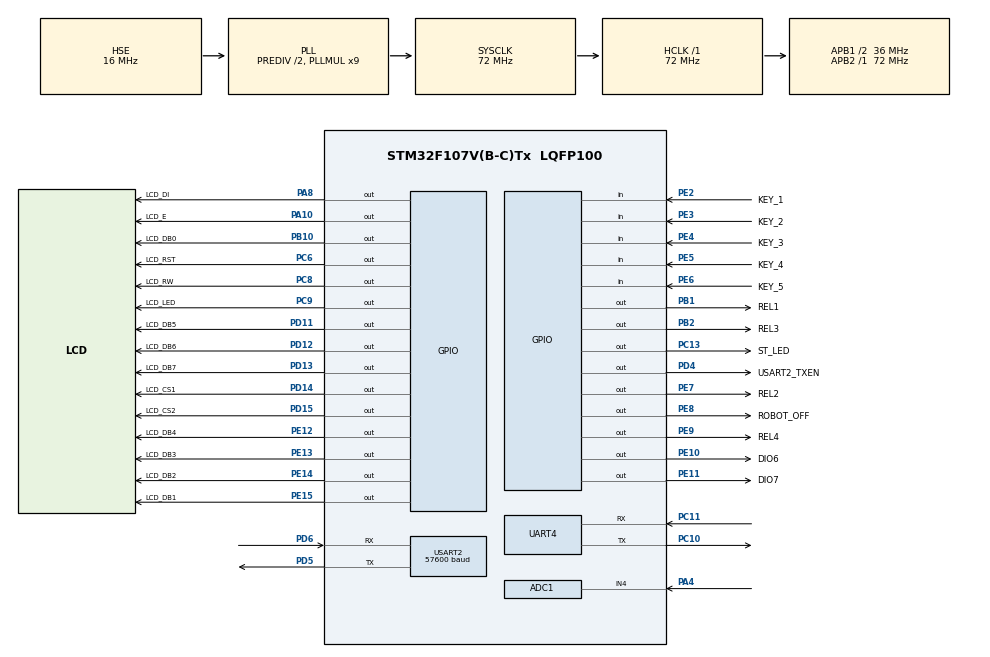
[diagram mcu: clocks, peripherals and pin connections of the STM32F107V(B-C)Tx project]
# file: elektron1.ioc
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ADC1.Channel-16\#ChannelRegularConversion=ADC_CHANNEL_4
ADC1.ContinuousConvMode=DISABLE
ADC1.DataAlign=ADC_DATAALIGN_RIGHT
ADC1.DiscontinuousConvMode=DISABLE
ADC1.EnableAnalogWatchDog=false
ADC1.EnableRegularConversion=ENABLE
ADC1.ExternalTrigConv=ADC_EXTERNALTRIGCONV_T3_TRGO
ADC1.InjNumberOfConversion=0
ADC1.NbrOfConversion=1
ADC1.NbrOfConversionFlag=1
ADC1.Rank-16\#ChannelRegularConversion=1
ADC1.SamplingTime-16\#ChannelRegularConversion=ADC_SAMPLETIME_1CYCLE_5
ADC1.ScanConvMode=ADC_SCAN_DISABLE
ADC1.master=1
Dma.Request0=UART4_RX
Dma.Request1=UART4_TX
Dma.UART4_RX.0.Direction=DMA_PERIPH_TO_MEMORY
Dma.UART4_RX.0.Instance=DMA2_Channel3
Dma.UART4_RX.0.MemDataAlignment=DMA_MDATAALIGN_BYTE
Dma.UART4_RX.0.MemInc=DMA_MINC_ENABLE
Dma.UART4_RX.0.Mode=DMA_NORMAL
Dma.UART4_RX.0.PeriphDataAlignment=DMA_PDATAALIGN_BYTE
Dma.UART4_RX.0.PeriphInc=DMA_PINC_DISABLE
Dma.UART4_RX.0.Priority=DMA_PRIORITY_LOW
Dma.UART4_TX.1.Direction=DMA_MEMORY_TO_PERIPH
Dma.UART4_TX.1.Instance=DMA2_Channel5
Dma.UART4_TX.1.MemDataAlignment=DMA_MDATAALIGN_BYTE
Dma.UART4_TX.1.MemInc=DMA_MINC_ENABLE
Dma.UART4_TX.1.Mode=DMA_NORMAL
Dma.UART4_TX.1.PeriphDataAlignment=DMA_PDATAALIGN_BYTE
Dma.UART4_TX.1.PeriphInc=DMA_PINC_DISABLE
Dma.UART4_TX.1.Priority=DMA_PRIORITY_LOW
FREERTOS.Mutexes01=batteryMutex;drivesSpeedMutex;drivesPositionMutex;relaysMutex;buttonsMutex;shutdownMutex;communicationMutex
FREERTOS.Queues01=shutdownQueue,2,uint8_t,NULL;setMotorsQueue,16,uint32_t,NULL;sendPcResponse,16,uint32_t,NULL
FREERTOS.Tasks01=defaultTask,0,128,StartDefaultTask,Default;outTask,-2,128,StartOutTask,Default;motorsTask,3,512,StartMotorsTask,Default;pcTask,2,512,StartPcTask,Default;buttonsTask,-2,128,StartButtonsTask,Default;shutdownTask,-3,128,StartShutdownTask,Default;batteryTask,-3,128,StartBatteryTask,Default;setMotorsTask,2,128,StartSetMotorsTask,Default;pcRxTask,2,512,StartPcRxTask,Default
FREERTOS.configLIBRARY_LOWEST_INTERRUPT_PRIORITY=15
FREERTOS.configTOTAL_HEAP_SIZE=16384
Mcu.Family=STM32F1
Mcu.Name=STM32F107V(B-C)Tx
Mcu.Package=LQFP100
NVIC.ADC1_2_IRQn=true\:5\:0\:false\:false\:true\:true
NVIC.DMA2_Channel3_IRQn=true\:5\:0\:true\:false\:true\:true
NVIC.DMA2_Channel5_IRQn=true\:5\:0\:false\:false\:true\:true
NVIC.PriorityGroup=NVIC_PRIORITYGROUP_4
NVIC.TIM2_IRQn=true\:0\:0\:false\:false\:true\:false
NVIC.TIM3_IRQn=true\:5\:0\:true\:false\:true\:true
NVIC.TimeBase=TIM2_IRQn
NVIC.TimeBaseIP=TIM2
NVIC.USART2_IRQn=true\:5\:0\:false\:false\:true\:true
OSC_IN.Mode=HSE-External-Oscillator
OSC_IN.Signal=RCC_OSC_IN
OSC_OUT.Mode=HSE-External-Oscillator
OSC_OUT.Signal=RCC_OSC_OUT
PA10.GPIO_Label=LCD_E
PA10.Signal=GPIO_Output
PA13.Mode=JTAG_5_pins
PA13.Signal=SYS_JTMS-SWDIO
PA14.Mode=JTAG_5_pins
PA14.Signal=SYS_JTCK-SWCLK
PA15.Mode=JTAG_5_pins
PA15.Signal=SYS_JTDI
PA4.Signal=ADCx_IN4
PA8.GPIO_Label=LCD_DI
PA8.Signal=GPIO_Output
PB1.GPIO_Label=REL1
PB1.Signal=GPIO_Output
PB10.GPIO_Label=LCD_DB0
PB10.Signal=GPIO_Output
PB2.GPIO_Label=REL3
PB2.Signal=GPIO_Output
PB3.Mode=JTAG_5_pins
PB3.Signal=SYS_JTDO
PB4.Mode=JTAG_5_pins
PB4.Signal=SYS_NJTRST
PC10.Mode=Asynchronous
PC10.Signal=UART4_TX
PC11.Mode=Asynchronous
PC11.Signal=UART4_RX
PC13-TAMPER-RTC.GPIO_Label=ST_LED
PC13-TAMPER-RTC.Signal=GPIO_Output
PC14-OSC32_IN.Mode=LSE-External-Oscillator
PC14-OSC32_IN.Signal=RCC_OSC32_IN
PC15-OSC32_OUT.Mode=LSE-External-Oscillator
PC15-OSC32_OUT.Signal=RCC_OSC32_OUT
PC6.GPIO_Label=LCD_RST
PC6.Signal=GPIO_Output
PC8.GPIO_Label=LCD_RW
PC8.Signal=GPIO_Output
PC9.GPIO_Label=LCD_LED
PC9.Signal=GPIO_Output
PD11.GPIO_Label=LCD_DB5
PD11.Signal=GPIO_Output
PD12.GPIO_Label=LCD_DB6
PD12.Signal=GPIO_Output
PD13.GPIO_Label=LCD_DB7
PD13.Signal=GPIO_Output
PD14.GPIO_Label=LCD_CS1
PD14.Signal=GPIO_Output
PD15.GPIO_Label=LCD_CS2
PD15.Signal=GPIO_Output
PD4.GPIO_Label=USART2_TXEN
PD4.Signal=GPIO_Output
PD5.Mode=Asynchronous
PD5.Signal=USART2_TX
PD6.Mode=Asynchronous
PD6.Signal=USART2_RX
PE10.GPIO_Label=DIO6
PE10.Signal=GPIO_Output
PE11.GPIO_Label=DIO7
PE11.Signal=GPIO_Output
PE12.GPIO_Label=LCD_DB4
PE12.Signal=GPIO_Output
PE13.GPIO_Label=LCD_DB3
PE13.Signal=GPIO_Output
PE14.GPIO_Label=LCD_DB2
PE14.Signal=GPIO_Output
PE15.GPIO_Label=LCD_DB1
PE15.Signal=GPIO_Output
PE2.GPIO_Label=KEY_1
PE2.GPIO_PuPd=GPIO_PULLUP
PE2.Signal=GPIO_Input
PE3.GPIO_Label=KEY_2
PE3.GPIO_PuPd=GPIO_PULLUP
PE3.Signal=GPIO_Input
PE4.GPIO_Label=KEY_3
PE4.GPIO_PuPd=GPIO_PULLUP
PE4.Signal=GPIO_Input
PE5.GPIO_Label=KEY_4
PE5.GPIO_PuPd=GPIO_PULLUP
PE5.Signal=GPIO_Input
PE6.GPIO_Label=KEY_5
PE6.GPIO_PuPd=GPIO_PULLUP
PE6.Signal=GPIO_Input
PE7.GPIO_Label=REL2
PE7.Signal=GPIO_Output
PE8.GPIO_Label=ROBOT_OFF
PE8.Signal=GPIO_Output
PE9.GPIO_Label=REL4
PE9.Signal=GPIO_Output
ProjectManager.HeapSize=0x400
ProjectManager.StackSize=0x800
ProjectManager.TargetToolchain=SW4STM32
RCC.ADCPresc=RCC_ADCPCLK2_DIV6
RCC.AHBFreq_Value=72000000
RCC.APB1CLKDivider=RCC_HCLK_DIV2
RCC.APB1Freq_Value=36000000
RCC.APB1TimFreq_Value=72000000
RCC.APB2Freq_Value=72000000
RCC.APB2TimFreq_Value=72000000
RCC.HCLKFreq_Value=72000000
RCC.HSEDivPLL=RCC_HSE_PREDIV_DIV2
RCC.HSE_VALUE=16000000
RCC.HSIState=RCC_HSI_ON
RCC.PLLMUL=RCC_PLL_MUL9
RCC.PLLSourceVirtual=RCC_PLLSOURCE_HSE
RCC.RCC_MCOSource=RCC_MCO1SOURCE_HSE
RCC.SYSCLKFreq_VALUE=72000000
RCC.SYSCLKSource=RCC_SYSCLKSOURCE_PLLCLK
RCC.USBFreq_Value=48000000
SH.ADCx_IN4.0=ADC1_IN4,IN4
TIM3.Period=7000
TIM3.Prescaler=10000
USART2.BaudRate=57600
VP_FREERTOS_VS_ENABLE.Mode=Enabled
VP_SYS_VS_tim2.Mode=TIM2
VP_TIM3_VS_ClockSourceINT.Mode=Internal
board=elektron1

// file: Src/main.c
/**
  ******************************************************************************
  * File Name          : main.c
  * Description        : Main program body
  ******************************************************************************
  *
  * Copyright (c) 2017 STMicroelectronics International N.V.
  * All rights reserved.
  *
  * Redistribution and use in source and binary forms, with or without
  * modification, are permitted, provided that the following conditions are met:
  *
  * 1. Redistribution of source code must retain the above copyright notice,
  *    this list of conditions and the following disclaimer.
  * 2. Redistributions in binary form must reproduce the above copyright notice,
  *    this list of conditions and the following disclaimer in the documentation
  *    and/or other materials provided with the distribution.
  * 3. Neither the name of STMicroelectronics nor the names of other
  *    contributors to this software may be used to endorse or promote products
  *    derived from this software without specific written permission.
  * 4. This software, including modifications and/or derivative works of this
  *    software, must execute solely and exclusively on microcontroller or
  *    microprocessor devices manufactured by or for STMicroelectronics.
  * 5. Redistribution and use of this software other than as permitted under
  *    this license is void and will automatically terminate your rights under
  *    this license.
  *
  * THIS SOFTWARE IS PROVIDED BY STMICROELECTRONICS AND CONTRIBUTORS "AS IS"
  * AND ANY EXPRESS, IMPLIED OR STATUTORY WARRANTIES, INCLUDING, BUT NOT
  * LIMITED TO, THE IMPLIED WARRANTIES OF MERCHANTABILITY, FITNESS FOR A
  * PARTICULAR PURPOSE AND NON-INFRINGEMENT OF THIRD PARTY INTELLECTUAL PROPERTY
  * RIGHTS ARE DISCLAIMED TO THE FULLEST EXTENT PERMITTED BY LAW. IN NO EVENT
  * SHALL STMICROELECTRONICS OR CONTRIBUTORS BE LIABLE FOR ANY DIRECT, INDIRECT,
  * INCIDENTAL, SPECIAL, EXEMPLARY, OR CONSEQUENTIAL DAMAGES (INCLUDING, BUT NOT
  * LIMITED TO, PROCUREMENT OF SUBSTITUTE GOODS OR SERVICES; LOSS OF USE, DATA,
  * OR PROFITS; OR BUSINESS INTERRUPTION) HOWEVER CAUSED AND ON ANY THEORY OF
  * LIABILITY, WHETHER IN CONTRACT, STRICT LIABILITY, OR TORT (INCLUDING
  * NEGLIGENCE OR OTHERWISE) ARISING IN ANY WAY OUT OF THE USE OF THIS SOFTWARE,
  * EVEN IF ADVISED OF THE POSSIBILITY OF SUCH DAMAGE.
  *
  ******************************************************************************
  */
#include "main.h"
#include "stm32f1xx_hal.h"
#include "cmsis_os.h"

/* USER CODE BEGIN Includes */
#define HELP_B(x, y) if(!x && buttons[y] < 20){buttons[y]++;}; if(x && buttons[y] > 0){buttons[y]--;}
#include "yahdlc/yahdlc.h"
#include "circular_buffer.h"
#include "nf/nfv2.h"
#include "lcd.h"
/* USER CODE END Includes */

ADC_HandleTypeDef hadc1;

TIM_HandleTypeDef htim3;

UART_HandleTypeDef huart4;
UART_HandleTypeDef huart2;
DMA_HandleTypeDef hdma_uart4_rx;
DMA_HandleTypeDef hdma_uart4_tx;

osThreadId defaultTaskHandle;
osThreadId outTaskHandle;
osThreadId motorsTaskHandle;
osThreadId pcTaskHandle;
osThreadId buttonsTaskHandle;
osThreadId shutdownTaskHandle;
osThreadId batteryTaskHandle;
osThreadId setMotorsTaskHandle;
osThreadId pcRxTaskHandle;
osMessageQId shutdownQueueHandle;
osMessageQId setMotorsQueueHandle;
osMessageQId sendPcResponseHandle;
osMutexId batteryMutexHandle;
osMutexId drivesSpeedMutexHandle;
osMutexId drivesPositionMutexHandle;
osMutexId relaysMutexHandle;
osMutexId buttonsMutexHandle;
osMutexId shutdownMutexHandle;
osMutexId communicationMutexHandle;

/* USER CODE BEGIN PV */
/* Private variables ---------------------------------------------------------*/
uint8_t shutdown_received = 0;
uint16_t battery_voltage_adc;
char relays;
uint8_t buttons[5];
uint8_t buttons_register;
Buffer uart4RxBuffer;
char uart4TxBuffer[512];
Buffer uart2RxBuffer;
Buffer uart2TxBuffer;
char uart4Received[64];
char uart2Received;
char uart4Tx;
int8_t drives_left_speed = 0;
int8_t drives_right_speed = 0;
char communication_correct = 0;

//Obiekty i struktury biblioteki NFv2
NF_STRUCT_ComBuf drives_NFCommunicationBuffer;	//Bufor komunikacyjny biblioteki NFv2.
uint8_t drives_txBuffer[256];	//Dane wysylane do plytki.
uint8_t drives_txCount;		//Dlugosc danych wysylanych do plytki.
uint8_t drives_commandArray[256];	//Tablica polecen do sterownika.
uint8_t drives_commandCount;		//Stopien zapelnienia tablicy polecen do sterownika.
uint8_t drives_rxCommandArray[256];	//Tablica danych przychodz¹cych od p³ytki.
uint8_t drives_rxCommandCount;	//Stopien zapelnienia tablicy danych od p³ytki.
uint8_t drives_rxBuffer[256];	//Dane odebrane do plytki.
uint8_t drives_rxCount = 0;		//Dlugosc danych odebranych od plytki.
int32_t drives_l_pos_total=0;	//Aktualna pozycja kola prawego w SI [m].
int32_t drives_r_pos_total=0;	//Aktualna pozycja kola lewego w SI [m].

//Obiekty i struktury do komunikacji z pc
char pc_rx_buffer[256];
short pc_rx_iter = 0;
unsigned last_timestamp = 0;
unsigned counter = 0;

typedef struct
{
	uint32_t timestamp;
	int16_t left_speed;
	int16_t right_speed;
	uint8_t relays;
	uint8_t sound;
	uint8_t shutdown;
}TxFrame;

typedef struct
{
	uint32_t timestamp;
	uint16_t buttons;
	int32_t left_position;
	int32_t right_position;
	uint16_t battery;
	uint8_t error;
}RxFrame;

/* USER CODE END PV */

void SystemClock_Config(void);
void Error_Handler(void);
static void MX_GPIO_Init(void);
static void MX_DMA_Init(void);
static void MX_UART4_Init(void);
static void MX_USART2_UART_Init(void);
static void MX_ADC1_Init(void);
static void MX_TIM3_Init(void);
void StartDefaultTask(void const * argument);
void StartOutTask(void const * argument);
void StartMotorsTask(void const * argument);
void StartPcTask(void const * argument);
void StartButtonsTask(void const * argument);
void StartShutdownTask(void const * argument);
void StartBatteryTask(void const * argument);
void StartSetMotorsTask(void const * argument);
void StartPcRxTask(void const * argument);

/* USER CODE BEGIN PFP */
/* Private function prototypes -----------------------------------------------*/
int drives_rx_handler(char newRx);
int pc_rx_handler(char newRx);
/* USER CODE END PFP */

/* USER CODE BEGIN 0 */
void HAL_UART_TxCpltCallback(UART_HandleTypeDef * huart) {
	if(huart->Instance == huart2.Instance){
		HAL_GPIO_WritePin(USART2_TXEN_GPIO_Port, USART2_TXEN_Pin, GPIO_PIN_RESET);
	}
}

void HAL_UART_RxCpltCallback(UART_HandleTypeDef *huart){
	if(huart->Instance == huart2.Instance){
		buffer_put(uart2Received, &uart2RxBuffer);
		HAL_UART_Receive_IT(&huart2, &uart2Received, 1);
	}
	if(huart->Instance == huart4.Instance){
		buffer_putn(uart4Received, sizeof(uart4Received), &uart4RxBuffer);
  		HAL_UART_Receive_DMA(&huart4, uart4Received, sizeof(uart4Received));
	}
}

void HAL_UART_ErrorCallback(UART_HandleTypeDef *huart){
	__HAL_UART_CLEAR_PEFLAG(huart);
	__HAL_UART_CLEAR_NEFLAG(huart);
	__HAL_UART_CLEAR_OREFLAG(huart);
	__HAL_UART_FLUSH_DRREGISTER(huart);
	//HAL_GPIO_TogglePin(ST_LED_GPIO_Port, ST_LED_Pin);
}

void drives_set_speed_request(int left, int right){
	drives_commandCount = 0;
	drives_NFCommunicationBuffer.SetDrivesMode.data[0] = NF_DrivesMode_SPEED;
	drives_NFCommunicationBuffer.SetDrivesMode.data[1] = NF_DrivesMode_SPEED;
	drives_NFCommunicationBuffer.SetDrivesSpeed.data[0] = left;
	drives_NFCommunicationBuffer.SetDrivesSpeed.data[1] = right;
	drives_commandArray[drives_commandCount++] = NF_COMMAND_SetDrivesMode;
	drives_commandArray[drives_commandCount++] = NF_COMMAND_SetDrivesSpeed;
	drives_commandArray[drives_commandCount++] = NF_COMMAND_ReadDeviceVitals;
	drives_commandArray[drives_commandCount++] = NF_COMMAND_ReadDrivesPosition;
	drives_txCount = NF_MakeCommandFrame(&drives_NFCommunicationBuffer, drives_txBuffer,
			(const uint8_t*)drives_commandArray, drives_commandCount, 0x10);
	HAL_GPIO_WritePin(USART2_TXEN_GPIO_Port, USART2_TXEN_Pin, GPIO_PIN_SET);
	HAL_UART_Transmit_IT(&huart2, drives_txBuffer, drives_txCount);
}

int drives_rx_handler(char newRx){
	int ret = 0;
	if(drives_rxCount == 255){
		drives_rxCount = 0;
	}
	drives_rxBuffer[drives_rxCount] = newRx;
	if(NF_Interpreter(&drives_NFCommunicationBuffer, drives_rxBuffer, &drives_rxCount, drives_rxCommandArray, &drives_rxCommandCount) > 0){
		if(drives_NFCommunicationBuffer.ReadDrivesPosition.updated){
			xSemaphoreTake(drivesPositionMutexHandle, portTICK_PERIOD_MS);
			drives_l_pos_total = drives_NFCommunicationBuffer.ReadDrivesPosition.data[1];
			drives_r_pos_total = drives_NFCommunicationBuffer.ReadDrivesPosition.data[0];
			xSemaphoreGive(drivesPositionMutexHandle);
		 	drives_NFCommunicationBuffer.ReadDrivesPosition.updated=0;
		 	ret = 1;
		}
	}
	return ret;
}

void send_pc_response(uint32_t* timestamp){
	RxFrame package;
	package.timestamp = *timestamp;
	xSemaphoreTake(drivesPositionMutexHandle, portTICK_PERIOD_MS);
	package.left_position = drives_l_pos_total;
	package.right_position = drives_r_pos_total;
	xSemaphoreGive(drivesPositionMutexHandle);
	xSemaphoreTake(batteryMutexHandle, portTICK_RATE_MS/2);
	package.battery = battery_voltage_adc;
	xSemaphoreGive(batteryMutexHandle);
	xSemaphoreTake(buttonsMutexHandle, portTICK_PERIOD_MS/2);
	package.buttons = buttons_register;
	xSemaphoreGive(buttonsMutexHandle);
	yahdlc_control_t control;
	// Initialize the control field structure with frame type and sequence number
	control.frame = YAHDLC_FRAME_DATA;
	// Create an empty frame with the control field information
	unsigned frame_length;
	uart4TxBuffer[0] = 0x7e;
	yahdlc_frame_data(&control, (char *)(&package), sizeof(RxFrame), uart4TxBuffer, &frame_length);
	++frame_length;
	memcpy(uart4TxBuffer+frame_length, uart4TxBuffer, frame_length);
	memcpy(uart4TxBuffer+2*frame_length, uart4TxBuffer, frame_length);
	HAL_UART_Transmit_DMA(&huart4, uart4TxBuffer, 3*frame_length);
}
/* USER CODE END 0 */

int main(void)
{

  /* MCU Configuration----------------------------------------------------------*/

  /* Reset of all peripherals, Initializes the Flash interface and the Systick. */
  HAL_Init();

  /* Configure the system clock */
  SystemClock_Config();

  /* Initialize all configured peripherals */
  MX_GPIO_Init();
  MX_DMA_Init();
  MX_UART4_Init();
  MX_USART2_UART_Init();
  MX_ADC1_Init();
  MX_TIM3_Init();

  /* USER CODE BEGIN 2 */
  	  //init nf2, communication with drives
    NFv2_CrcInit();
    NFv2_Config(&drives_NFCommunicationBuffer, 0x01);

    //init battery measure
    HAL_ADC_Start(&hadc1);
	if(HAL_ADC_PollForConversion(&hadc1, 10) == HAL_OK){
		battery_voltage_adc = 5*HAL_ADC_GetValue(&hadc1)/3.3;
	}

	//init relays and buttons
	relays = 0;
	buttons_register = 0;
	for(int i = 0; i < 5; i++){
		buttons[i] = 0;
	}
    //drives connection init
    buffer_init(&uart2RxBuffer);
    HAL_GPIO_WritePin(USART2_TXEN_GPIO_Port, USART2_TXEN_Pin, GPIO_PIN_RESET);
    HAL_GPIO_WritePin(DIO6_GPIO_Port, DIO6_Pin, GPIO_PIN_SET);
    HAL_GPIO_WritePin(DIO7_GPIO_Port, DIO7_Pin, GPIO_PIN_SET);
    HAL_UART_Receive_IT(&huart2, &uart2Received, sizeof(uart2Received));
    //drives_set_speed_request(0, 0);

    //pc connection init

    buffer_init(&uart4RxBuffer);
    HAL_UART_Receive_DMA(&huart4, &uart4Received, sizeof(uart4Received));

  /* USER CODE END 2 */

  /* Create the mutex(es) */
  /* definition and creation of batteryMutex */
  osMutexDef(batteryMutex);
  batteryMutexHandle = osMutexCreate(osMutex(batteryMutex));

  /* definition and creation of drivesSpeedMutex */
  osMutexDef(drivesSpeedMutex);
  drivesSpeedMutexHandle = osMutexCreate(osMutex(drivesSpeedMutex));

  /* definition and creation of drivesPositionMutex */
  osMutexDef(drivesPositionMutex);
  drivesPositionMutexHandle = osMutexCreate(osMutex(drivesPositionMutex));

  /* definition and creation of relaysMutex */
  osMutexDef(relaysMutex);
  relaysMutexHandle = osMutexCreate(osMutex(relaysMutex));

  /* definition and creation of buttonsMutex */
  osMutexDef(buttonsMutex);
  buttonsMutexHandle = osMutexCreate(osMutex(buttonsMutex));

  /* definition and creation of shutdownMutex */
  osMutexDef(shutdownMutex);
  shutdownMutexHandle = osMutexCreate(osMutex(shutdownMutex));

  /* definition and creation of communicationMutex */
  osMutexDef(communicationMutex);
  communicationMutexHandle = osMutexCreate(osMutex(communicationMutex));

  /* Create the thread(s) */
  /* definition and creation of defaultTask */
  osThreadDef(defaultTask, StartDefaultTask, osPriorityNormal, 0, 128);
  defaultTaskHandle = osThreadCreate(osThread(defaultTask), NULL);

  /* definition and creation of outTask */
  osThreadDef(outTask, StartOutTask, osPriorityLow, 0, 128);
  outTaskHandle = osThreadCreate(osThread(outTask), NULL);

  /* definition and creation of motorsTask */
  osThreadDef(motorsTask, StartMotorsTask, osPriorityRealtime, 0, 512);
  motorsTaskHandle = osThreadCreate(osThread(motorsTask), NULL);

  /* definition and creation of pcTask */
  osThreadDef(pcTask, StartPcTask, osPriorityHigh, 0, 512);
  pcTaskHandle = osThreadCreate(osThread(pcTask), NULL);

  /* definition and creation of buttonsTask */
  osThreadDef(buttonsTask, StartButtonsTask, osPriorityLow, 0, 128);
  buttonsTaskHandle = osThreadCreate(osThread(buttonsTask), NULL);

  /* definition and creation of shutdownTask */
  osThreadDef(shutdownTask, StartShutdownTask, osPriorityIdle, 0, 128);
  shutdownTaskHandle = osThreadCreate(osThread(shutdownTask), NULL);

  /* definition and creation of batteryTask */
  osThreadDef(batteryTask, StartBatteryTask, osPriorityIdle, 0, 128);
  batteryTaskHandle = osThreadCreate(osThread(batteryTask), NULL);

  /* definition and creation of setMotorsTask */
  osThreadDef(setMotorsTask, StartSetMotorsTask, osPriorityHigh, 0, 128);
  setMotorsTaskHandle = osThreadCreate(osThread(setMotorsTask), NULL);

  /* definition and creation of pcRxTask */
  osThreadDef(pcRxTask, StartPcRxTask, osPriorityHigh, 0, 512);
  pcRxTaskHandle = osThreadCreate(osThread(pcRxTask), NULL);

  /* Create the queue(s) */
  /* definition and creation of shutdownQueue */
  osMessageQDef(shutdownQueue, 2, uint8_t);
  shutdownQueueHandle = osMessageCreate(osMessageQ(shutdownQueue), NULL);

  /* definition and creation of setMotorsQueue */
  osMessageQDef(setMotorsQueue, 16, uint32_t);
  setMotorsQueueHandle = osMessageCreate(osMessageQ(setMotorsQueue), NULL);

  /* definition and creation of sendPcResponse */
  osMessageQDef(sendPcResponse, 16, uint32_t);
  sendPcResponseHandle = osMessageCreate(osMessageQ(sendPcResponse), NULL);

  /* Start scheduler */
  osKernelStart();

  /* We should never get here as control is now taken by the scheduler */

  /* Infinite loop */
  while (1)
  {

  }

}

/** System Clock Configuration
*/
void SystemClock_Config(void)
{

  RCC_OscInitTypeDef RCC_OscInitStruct;
  RCC_ClkInitTypeDef RCC_ClkInitStruct;
  RCC_PeriphCLKInitTypeDef PeriphClkInit;

    /**Initializes the CPU, AHB and APB busses clocks
    */
  RCC_OscInitStruct.OscillatorType = RCC_OSCILLATORTYPE_HSE;
  RCC_OscInitStruct.HSEState = RCC_HSE_ON;
  RCC_OscInitStruct.HSEPredivValue = RCC_HSE_PREDIV_DIV2;
  RCC_OscInitStruct.HSIState = RCC_HSI_ON;
  RCC_OscInitStruct.Prediv1Source = RCC_PREDIV1_SOURCE_HSE;
  RCC_OscInitStruct.PLL.PLLState = RCC_PLL_ON;
  RCC_OscInitStruct.PLL.PLLSource = RCC_PLLSOURCE_HSE;
  RCC_OscInitStruct.PLL.PLLMUL = RCC_PLL_MUL9;
  RCC_OscInitStruct.PLL2.PLL2State = RCC_PLL_NONE;
  if (HAL_RCC_OscConfig(&RCC_OscInitStruct) != HAL_OK)
  {
    Error_Handler();
  }

    /**Initializes the CPU, AHB and APB busses clocks
    */
  RCC_ClkInitStruct.ClockType = RCC_CLOCKTYPE_HCLK|RCC_CLOCKTYPE_SYSCLK
                              |RCC_CLOCKTYPE_PCLK1|RCC_CLOCKTYPE_PCLK2;
  RCC_ClkInitStruct.SYSCLKSource = RCC_SYSCLKSOURCE_PLLCLK;
  RCC_ClkInitStruct.AHBCLKDivider = RCC_SYSCLK_DIV1;
  RCC_ClkInitStruct.APB1CLKDivider = RCC_HCLK_DIV2;
  RCC_ClkInitStruct.APB2CLKDivider = RCC_HCLK_DIV1;

  if (HAL_RCC_ClockConfig(&RCC_ClkInitStruct, FLASH_LATENCY_2) != HAL_OK)
  {
    Error_Handler();
  }

  PeriphClkInit.PeriphClockSelection = RCC_PERIPHCLK_ADC;
  PeriphClkInit.AdcClockSelection = RCC_ADCPCLK2_DIV6;
  if (HAL_RCCEx_PeriphCLKConfig(&PeriphClkInit) != HAL_OK)
  {
    Error_Handler();
  }

    /**Configure the Systick interrupt time
    */
  HAL_SYSTICK_Config(HAL_RCC_GetHCLKFreq()/1000);

    /**Configure the Systick
    */
  HAL_SYSTICK_CLKSourceConfig(SYSTICK_CLKSOURCE_HCLK);

    /**Configure the Systick interrupt time
    */
  __HAL_RCC_PLLI2S_ENABLE();

  /* SysTick_IRQn interrupt configuration */
  HAL_NVIC_SetPriority(SysTick_IRQn, 15, 0);
}

/* ADC1 init function */
static void MX_ADC1_Init(void)
{

  ADC_ChannelConfTypeDef sConfig;

    /**Common config
    */
  hadc1.Instance = ADC1;
  hadc1.Init.ScanConvMode = ADC_SCAN_DISABLE;
  hadc1.Init.ContinuousConvMode = DISABLE;
  hadc1.Init.DiscontinuousConvMode = DISABLE;
  hadc1.Init.ExternalTrigConv = ADC_EXTERNALTRIGCONV_T3_TRGO;
  hadc1.Init.DataAlign = ADC_DATAALIGN_RIGHT;
  hadc1.Init.NbrOfConversion = 1;
  if (HAL_ADC_Init(&hadc1) != HAL_OK)
  {
    Error_Handler();
  }

    /**Configure Regular Channel
    */
  sConfig.Channel = ADC_CHANNEL_4;
  sConfig.Rank = 1;
  sConfig.SamplingTime = ADC_SAMPLETIME_1CYCLE_5;
  if (HAL_ADC_ConfigChannel(&hadc1, &sConfig) != HAL_OK)
  {
    Error_Handler();
  }

}

/* TIM3 init function */
static void MX_TIM3_Init(void)
{

  TIM_ClockConfigTypeDef sClockSourceConfig;
  TIM_MasterConfigTypeDef sMasterConfig;

  htim3.Instance = TIM3;
  htim3.Init.Prescaler = 10000;
  htim3.Init.CounterMode = TIM_COUNTERMODE_UP;
  htim3.Init.Period = 7000;
  htim3.Init.ClockDivision = TIM_CLOCKDIVISION_DIV1;
  if (HAL_TIM_Base_Init(&htim3) != HAL_OK)
  {
    Error_Handler();
  }

  sClockSourceConfig.ClockSource = TIM_CLOCKSOURCE_INTERNAL;
  if (HAL_TIM_ConfigClockSource(&htim3, &sClockSourceConfig) != HAL_OK)
  {
    Error_Handler();
  }

  sMasterConfig.MasterOutputTrigger = TIM_TRGO_RESET;
  sMasterConfig.MasterSlaveMode = TIM_MASTERSLAVEMODE_DISABLE;
  if (HAL_TIMEx_MasterConfigSynchronization(&htim3, &sMasterConfig) != HAL_OK)
  {
    Error_Handler();
  }

}

/* UART4 init function */
static void MX_UART4_Init(void)
{

  huart4.Instance = UART4;
  huart4.Init.BaudRate = 115200;
  huart4.Init.WordLength = UART_WORDLENGTH_8B;
  huart4.Init.StopBits = UART_STOPBITS_1;
  huart4.Init.Parity = UART_PARITY_NONE;
  huart4.Init.Mode = UART_MODE_TX_RX;
  huart4.Init.HwFlowCtl = UART_HWCONTROL_NONE;
  huart4.Init.OverSampling = UART_OVERSAMPLING_16;
  if (HAL_UART_Init(&huart4) != HAL_OK)
  {
    Error_Handler();
  }

}

/* USART2 init function */
static void MX_USART2_UART_Init(void)
{

  huart2.Instance = USART2;
  huart2.Init.BaudRate = 57600;
  huart2.Init.WordLength = UART_WORDLENGTH_8B;
  huart2.Init.StopBits = UART_STOPBITS_1;
  huart2.Init.Parity = UART_PARITY_NONE;
  huart2.Init.Mode = UART_MODE_TX_RX;
  huart2.Init.HwFlowCtl = UART_HWCONTROL_NONE;
  huart2.Init.OverSampling = UART_OVERSAMPLING_16;
  if (HAL_UART_Init(&huart2) != HAL_OK)
  {
    Error_Handler();
  }

}

static void MX_DMA_Init(void)
{
  /* DMA controller clock enable */
  __HAL_RCC_DMA2_CLK_ENABLE();

  /* DMA interrupt init */
  /* DMA2_Channel3_IRQn interrupt configuration */
  HAL_NVIC_SetPriority(DMA2_Channel3_IRQn, 5, 0);
  HAL_NVIC_EnableIRQ(DMA2_Channel3_IRQn);
  /* DMA2_Channel5_IRQn interrupt configuration */
  HAL_NVIC_SetPriority(DMA2_Channel5_IRQn, 5, 0);
  HAL_NVIC_EnableIRQ(DMA2_Channel5_IRQn);

}

/** Configure pins as
        * Analog
        * Input
        * Output
        * EVENT_OUT
        * EXTI
*/
static void MX_GPIO_Init(void)
{

  GPIO_InitTypeDef GPIO_InitStruct;

  /* GPIO Ports Clock Enable */
  __HAL_RCC_GPIOE_CLK_ENABLE();
  __HAL_RCC_GPIOC_CLK_ENABLE();
  __HAL_RCC_GPIOA_CLK_ENABLE();
  __HAL_RCC_GPIOB_CLK_ENABLE();
  __HAL_RCC_GPIOD_CLK_ENABLE();

  /*Configure GPIO pins : KEY_1_Pin KEY_2_Pin KEY_3_Pin KEY_4_Pin
                           KEY_5_Pin */
  GPIO_InitStruct.Pin = KEY_1_Pin|KEY_2_Pin|KEY_3_Pin|KEY_4_Pin
                          |KEY_5_Pin;
  GPIO_InitStruct.Mode = GPIO_MODE_INPUT;
  GPIO_InitStruct.Pull = GPIO_PULLUP;
  HAL_GPIO_Init(GPIOE, &GPIO_InitStruct);

  /*Configure GPIO pins : ST_LED_Pin LCD_RST_Pin LCD_RW_Pin LCD_LED_Pin */
  GPIO_InitStruct.Pin = ST_LED_Pin|LCD_RST_Pin|LCD_RW_Pin|LCD_LED_Pin;
  GPIO_InitStruct.Mode = GPIO_MODE_OUTPUT_PP;
  GPIO_InitStruct.Speed = GPIO_SPEED_FREQ_LOW;
  HAL_GPIO_Init(GPIOC, &GPIO_InitStruct);

  /*Configure GPIO pins : REL1_Pin REL3_Pin LCD_DB0_Pin */
  GPIO_InitStruct.Pin = REL1_Pin|REL3_Pin|LCD_DB0_Pin;
  GPIO_InitStruct.Mode = GPIO_MODE_OUTPUT_PP;
  GPIO_InitStruct.Speed = GPIO_SPEED_FREQ_LOW;
  HAL_GPIO_Init(GPIOB, &GPIO_InitStruct);

  /*Configure GPIO pins : REL2_Pin ROBOT_OFF_Pin REL4_Pin DIO6_Pin
                           DIO7_Pin LCD_DB4_Pin LCD_DB3_Pin LCD_DB2_Pin
                           LCD_DB1_Pin */
  GPIO_InitStruct.Pin = REL2_Pin|ROBOT_OFF_Pin|REL4_Pin|DIO6_Pin
                          |DIO7_Pin|LCD_DB4_Pin|LCD_DB3_Pin|LCD_DB2_Pin
                          |LCD_DB1_Pin;
  GPIO_InitStruct.Mode = GPIO_MODE_OUTPUT_PP;
  GPIO_InitStruct.Speed = GPIO_SPEED_FREQ_LOW;
  HAL_GPIO_Init(GPIOE, &GPIO_InitStruct);

  /*Configure GPIO pins : LCD_DB5_Pin LCD_DB6_Pin LCD_DB7_Pin LCD_CS1_Pin
                           LCD_CS2_Pin USART2_TXEN_Pin */
  GPIO_InitStruct.Pin = LCD_DB5_Pin|LCD_DB6_Pin|LCD_DB7_Pin|LCD_CS1_Pin
                          |LCD_CS2_Pin|USART2_TXEN_Pin;
  GPIO_InitStruct.Mode = GPIO_MODE_OUTPUT_PP;
  GPIO_InitStruct.Speed = GPIO_SPEED_FREQ_LOW;
  HAL_GPIO_Init(GPIOD, &GPIO_InitStruct);

  /*Configure GPIO pins : LCD_DI_Pin LCD_E_Pin */
  GPIO_InitStruct.Pin = LCD_DI_Pin|LCD_E_Pin;
  GPIO_InitStruct.Mode = GPIO_MODE_OUTPUT_PP;
  GPIO_InitStruct.Speed = GPIO_SPEED_FREQ_LOW;
  HAL_GPIO_Init(GPIOA, &GPIO_InitStruct);

  /*Configure GPIO pin Output Level */
  HAL_GPIO_WritePin(GPIOC, ST_LED_Pin|LCD_RST_Pin|LCD_RW_Pin|LCD_LED_Pin, GPIO_PIN_RESET);

  /*Configure GPIO pin Output Level */
  HAL_GPIO_WritePin(GPIOB, REL1_Pin|REL3_Pin|LCD_DB0_Pin, GPIO_PIN_RESET);

  /*Configure GPIO pin Output Level */
  HAL_GPIO_WritePin(GPIOE, REL2_Pin|ROBOT_OFF_Pin|REL4_Pin|DIO6_Pin
                          |DIO7_Pin|LCD_DB4_Pin|LCD_DB3_Pin|LCD_DB2_Pin
                          |LCD_DB1_Pin, GPIO_PIN_RESET);

  /*Configure GPIO pin Output Level */
  HAL_GPIO_WritePin(GPIOD, LCD_DB5_Pin|LCD_DB6_Pin|LCD_DB7_Pin|LCD_CS1_Pin
                          |LCD_CS2_Pin|USART2_TXEN_Pin, GPIO_PIN_RESET);

  /*Configure GPIO pin Output Level */
  HAL_GPIO_WritePin(GPIOA, LCD_DI_Pin|LCD_E_Pin, GPIO_PIN_RESET);

}

/* StartDefaultTask function */
void StartDefaultTask(void const * argument)
{

  /* USER CODE BEGIN 5 */
  /* Infinite loop */
  for(;;)
  {
    osDelay(100);
    HAL_GPIO_TogglePin(ST_LED_GPIO_Port, ST_LED_Pin);
  }
  /* USER CODE END 5 */
}

/* StartOutTask function */
void StartOutTask(void const * argument)
{
  /* USER CODE BEGIN StartOutTask */
  /* Infinite loop */
	LCD_init();
	LCD_clear();
	LCD_writeLine(5, "              1 2 3 4");
  for(;;)
  {
	  uint8_t temp_relays = 0;
	  xSemaphoreTake(relaysMutexHandle, portTICK_PERIOD_MS*4);
	  temp_relays = relays;
	  xSemaphoreGive(relaysMutexHandle);
	  char rel1 = (temp_relays & 0x01);
	  char rel2 = (temp_relays & 0x02);
	  char rel3 = (temp_relays & 0x04);
	  char rel4 = (temp_relays & 0x08);
	  HAL_GPIO_WritePin(REL1_GPIO_Port, REL1_Pin, rel1);
	  HAL_GPIO_WritePin(REL2_GPIO_Port, REL2_Pin, rel2);
	  HAL_GPIO_WritePin(REL3_GPIO_Port, REL3_Pin, rel3);
	  HAL_GPIO_WritePin(REL4_GPIO_Port, REL4_Pin, rel4);
	  int battery_copy = 0;
	  xSemaphoreTake(batteryMutexHandle, portMAX_DELAY);
	  battery_copy = battery_voltage_adc;
	  xSemaphoreGive(batteryMutexHandle);
	  if(battery_copy == 0){
		LCD_writeLine(1, "POMIAR BAT. NIEDOSTEPNY");
	  }else{
		int battery_int = battery_copy/100;
		int battery_decimal = battery_copy%100;
		char string[20];
		memcpy(string, "Bateria:        .  V   ", 24);
		string[14] = battery_int/10 + '0';
		string[15] = battery_int%10 + '0';
		string[17] = battery_decimal/10 + '0';
		string[18] = battery_decimal%10 + '0';
		LCD_writeLine(1, string);
		if(battery_copy < 2300){
			LCD_writeLine(2, "BATERIA ROZLADOWANA");
		}else{
			LCD_writeLine(2, "                   ");
		}
	}
	char relayString[21];
	memcpy(relayString, "Przekazniki:  ", 14);
	relayString[13] = ' ';
	relayString[15] = ' ';
	relayString[17] = ' ';
	relayString[19] = ' ';
	if (rel1) {relayString[14] = '*';} else {relayString[14] = '.';}
	if (rel2) {relayString[16] = '*';} else {relayString[16] = '.';}
	if (rel3) {relayString[18] = '*';} else {relayString[18] = '.';}
	if (rel4) {relayString[20] = '*';} else {relayString[20] = '.';}
	relayString[21] = '\0';
	LCD_writeLine(6, relayString);
	uint8_t temp_shutdown;
	xSemaphoreTake(shutdownMutexHandle, portTICK_PERIOD_MS);
	temp_shutdown = shutdown_received;
	xSemaphoreGive(shutdownMutexHandle);
	if(temp_shutdown){
		LCD_writeLine(3, "WYLACZANIE");
	}
	char temp_communication;
	xSemaphoreTake(communicationMutexHandle, portTICK_PERIOD_MS);
	temp_communication = communication_correct;
	xSemaphoreGive(communicationMutexHandle);
	if(communication_correct){
		LCD_writeLine(0, "KOMUNIKACJA PC     ");
	}else{
		LCD_writeLine(0, "BRAK KOMUNIKACJI PC");
	}
    osDelay(2000);
  }
  /* USER CODE END StartOutTask */
}

/* StartMotorsTask function */
void StartMotorsTask(void const * argument)
{
  /* USER CODE BEGIN StartMotorsTask */
  /* Infinite loop */
  for(;;)
  {
	HAL_NVIC_DisableIRQ(USART2_IRQn);
	char uart2Rx;
	char newUart2Rx = buffer_get(&uart2RxBuffer, &uart2Rx);
	HAL_NVIC_EnableIRQ(USART2_IRQn);
	if (newUart2Rx){
		drives_rx_handler(uart2Rx);
	}else{
		osDelay(1);
	}
  }
  /* USER CODE END StartMotorsTask */
}

/* StartPcTask function */
void StartPcTask(void const * argument)
{
  /* USER CODE BEGIN StartPcTask */
  /* Infinite loop */
	char without_communication = 0;
  for(;;)
  {
	NVIC_DisableIRQ(DMA2_Channel5_IRQn);
	char uart4Rx;
	char newUart4Rx = buffer_get(&uart4RxBuffer, &uart4Rx);
	NVIC_EnableIRQ(DMA2_Channel5_IRQn);
	if (newUart4Rx){
		int got_message = 0;
		unsigned int message_length = 0;
		TxFrame package;
		//memset(&package, 0, sizeof(package));
		yahdlc_control_t control_recv;
		pc_rx_buffer[pc_rx_iter] = uart4Rx;
		++pc_rx_iter;
		pc_rx_iter &= 0xff;
		if(pc_rx_iter >= sizeof(TxFrame)){
			yahdlc_get_data(&control_recv, pc_rx_buffer, pc_rx_iter, (char*)(&package), &message_length);
			got_message = (message_length == sizeof(TxFrame));
		}
		if(got_message){
			pc_rx_iter = 0;
		}
		got_message = (got_message && package.timestamp != last_timestamp);
		if(got_message){
			xSemaphoreTake(communicationMutexHandle, portTICK_RATE_MS);
			communication_correct = 1;
			xSemaphoreGive(communicationMutexHandle);
			without_communication = 0;
			last_timestamp = package.timestamp;
			int16_t speed[2];
			speed[0] = package.left_speed;
			speed[1] = package.right_speed;
			xSemaphoreTake(relaysMutexHandle, portTICK_PERIOD_MS);
			relays = package.relays;
			xSemaphoreGive(relaysMutexHandle);
			xQueueSend(setMotorsQueueHandle, &speed, portTICK_PERIOD_MS);
			/*xSemaphoreTake(drivesSpeedMutexHandle, portTICK_PERIOD_MS);
			drives_left_speed = package.left_speed;
			drives_right_speed = package.right_speed;
			xSemaphoreGive(drivesSpeedMutexHandle);*/
			xQueueSend(sendPcResponseHandle, &package.timestamp, portTICK_PERIOD_MS);
			xSemaphoreTake(shutdownMutexHandle, portTICK_PERIOD_MS*100);
			uint8_t shutdown_message = 0;
			if(!shutdown_received && package.shutdown){
				shutdown_received = package.shutdown;
				shutdown_message = package.shutdown;
			}
			xSemaphoreGive(shutdownMutexHandle);
			if(shutdown_message){
				xQueueSend(shutdownQueueHandle, &(shutdown_message), portTICK_PERIOD_MS*100);
			}
		}
	}else{
		if(without_communication == 100){
			uint16_t speed[2];
			speed[0] = 0;
			speed[1] = 0;
			xQueueSend(setMotorsQueueHandle, &speed, 2*portTICK_PERIOD_MS);
			xSemaphoreTake(communicationMutexHandle, portTICK_PERIOD_MS);
			communication_correct = 0;
			xSemaphoreGive(communicationMutexHandle);
			++without_communication;
		}else if (without_communication < 100){
			++without_communication;
		}
		osDelay(1);
	}
  }
  /* USER CODE END StartPcTask */
}

/* StartButtonsTask function */
void StartButtonsTask(void const * argument)
{
  /* USER CODE BEGIN StartButtonsTask */
  /* Infinite loop */
  for(;;)
  {
	  uint8_t k1 = HAL_GPIO_ReadPin(KEY_1_GPIO_Port, KEY_1_Pin);
	  uint8_t k2 = HAL_GPIO_ReadPin(KEY_2_GPIO_Port, KEY_2_Pin);
	  uint8_t k3 = HAL_GPIO_ReadPin(KEY_3_GPIO_Port, KEY_3_Pin);
	  uint8_t k4 = HAL_GPIO_ReadPin(KEY_4_GPIO_Port, KEY_4_Pin);
	  uint8_t k5 = HAL_GPIO_ReadPin(KEY_5_GPIO_Port, KEY_5_Pin);
	  HELP_B(k1, 0);
	  HELP_B(k2, 1);
	  HELP_B(k3, 2);
	  HELP_B(k4, 3);
	  HELP_B(k5, 4);
	  xSemaphoreTake(buttonsMutexHandle, portTICK_PERIOD_MS*4);
	  buttons_register = 0;
	  for(int i = 4; i >= 0; --i){
		  buttons_register <<= 1;
		  buttons_register |= (buttons[i] > 10);
	  }
	  xSemaphoreGive(buttonsMutexHandle);
	  osDelay(20);
  }
  /* USER CODE END StartButtonsTask */
}

/* StartShutdownTask function */
void StartShutdownTask(void const * argument)
{
  /* USER CODE BEGIN StartShutdownTask */
  /* Infinite loop */
  for(;;)
  {
	uint8_t shutdownTime;
	xQueueReceive(shutdownQueueHandle, &shutdownTime, portMAX_DELAY);
    osDelay(1000*shutdownTime);
    HAL_GPIO_WritePin(ROBOT_OFF_GPIO_Port, ROBOT_OFF_Pin, GPIO_PIN_SET);
  }
  /* USER CODE END StartShutdownTask */
}

/* StartBatteryTask function */
void StartBatteryTask(void const * argument)
{
  /* USER CODE BEGIN StartBatteryTask */
  /* Infinite loop */
  for(;;)
  {
	HAL_ADC_Start(&hadc1);
	if(HAL_ADC_PollForConversion(&hadc1, 10) == HAL_OK){
		xSemaphoreTake(batteryMutexHandle, portTICK_RATE_MS*2);
		battery_voltage_adc = 5*HAL_ADC_GetValue(&hadc1)/3.3;
		xSemaphoreGive(batteryMutexHandle);
		if(battery_voltage_adc != 0 && battery_voltage_adc < 2100){
			HAL_GPIO_WritePin(ROBOT_OFF_GPIO_Port, ROBOT_OFF_Pin, GPIO_PIN_SET);
		}
	}
	osDelay(10000);
  }
  /* USER CODE END StartBatteryTask */
}

/* StartSetMotorsTask function */
void StartSetMotorsTask(void const * argument)
{
  /* USER CODE BEGIN StartSetMotorsTask */
  /* Infinite loop */
  for(;;)
  {
	int16_t speed[2];
	xQueueReceive(setMotorsQueueHandle, speed, portMAX_DELAY);
	/*uint8_t left, right;
	xSemaphoreTake(drivesSpeedMutexHandle, portTICK_PERIOD_MS);
	left = drives_left_speed;
	right = drives_right_speed;
	xSemaphoreGive(drivesSpeedMutexHandle);*/
	drives_set_speed_request(speed[0], speed[1]);
    osDelay(2);
  }
  /* USER CODE END StartSetMotorsTask */
}

/* StartPcRxTask function */
void StartPcRxTask(void const * argument)
{
  /* USER CODE BEGIN StartPcRxTask */
  /* Infinite loop */
  for(;;)
  {
	uint32_t timestamp;
    xQueueReceive(sendPcResponseHandle, &timestamp, portMAX_DELAY);
	osDelay(2);
    send_pc_response(&timestamp);
  }
  /* USER CODE END StartPcRxTask */
}

void HAL_TIM_PeriodElapsedCallback(TIM_HandleTypeDef *htim)
{
  if (htim->Instance == TIM2) {
    HAL_IncTick();
  }
}

void Error_Handler(void)
{
  while(1)
  {
  }
}

/************************ (C) COPYRIGHT STMicroelectronics *****END OF FILE****/
